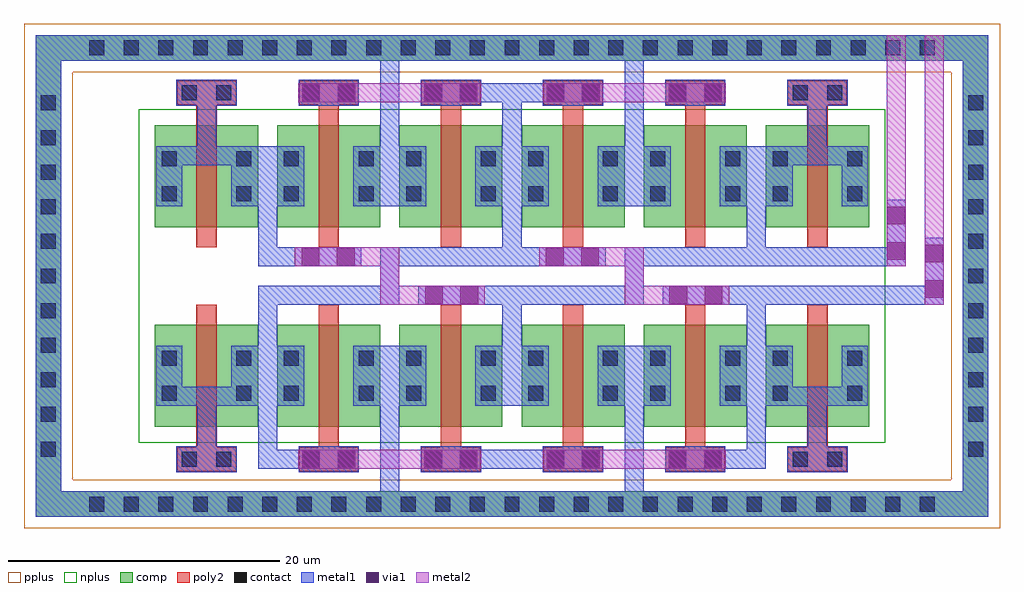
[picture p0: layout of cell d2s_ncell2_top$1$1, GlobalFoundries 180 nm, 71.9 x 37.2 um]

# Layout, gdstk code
import gdstk
lib = gdstk.Library(unit=1e-6, precision=1e-09)
def R(c, l, rs):  # rectangles x0, y0, x1, y1
    for r in rs: c.add(gdstk.rectangle(r[:2], r[2:], *l))
def A(c, l, x, y, w, h, nx, ny, dx, dy):  # array of equal rectangles
    R(c, l, [(x+i*dx, y+j*dy, x+i*dx+w, y+j*dy+h) for i in range(nx) for j in range(ny)])
comp = (22, 0)
poly2 = (30, 0)
pplus = (31, 0)
nplus = (32, 0)
contact = (33, 0)
metal1 = (34, 0)
via1 = (35, 0)
metal2 = (36, 0)

d2s_ncell2_1_1_1_1_1 = lib.new_cell('d2s_ncell2_1$1$1$1$1')
R(d2s_ncell2_1_1_1_1_1, comp, [(0,1.5,2.1,9), (2.1,1.5,5.5,9), (5.5,1.5,7.6,9)])
R(d2s_ncell2_1_1_1_1_1, poly2, [(3.05,0,4.55,10.5)])
R(d2s_ncell2_1_1_1_1_1, contact, [(0.5,3.425,1.6,4.525), (6,3.425,7.1,4.525), (0.5,5.975,1.6,7.075), (6,5.975,7.1,7.075)])
R(d2s_ncell2_1_1_1_1_1, metal1, [(0.1,3.025,2,7.475), (5.6,3.025,7.5,7.475)])

d2s_ncell2_4_1_1_1 = lib.new_cell('d2s_ncell2_4$1$1$1')
A(d2s_ncell2_4_1_1_1, poly2, 1.625, 10.5, 4.35, 1.8, 6, 1, 9, 0)
R(d2s_ncell2_4_1_1_1, contact, [(1.975,10.85,3.075,11.95), (4.525,10.85,5.625,11.95), (10.975,10.85,12.075,11.95), (13.525,10.85,14.625,11.95), (19.975,10.85,21.075,11.95), (22.525,10.85,23.625,11.95), (28.975,10.85,30.075,11.95), (31.525,10.85,32.625,11.95), (37.975,10.85,39.075,11.95), (40.525,10.85,41.625,11.95), (46.975,10.85,48.075,11.95), (49.525,10.85,50.625,11.95)])
A(d2s_ncell2_4_1_1_1, metal1, 7.5, 3.025, 1.6, 4.45, 5, 1, 9, 0)
A(d2s_ncell2_4_1_1_1, metal1, 1.575, 10.45, 4.45, 1.9, 6, 1, 9, 0)
R(d2s_ncell2_4_1_1_1, via1, [(10.85,10.75,12.15,12.05), (13.45,10.75,14.75,12.05), (19.85,10.75,21.15,12.05), (22.45,10.75,23.75,12.05), (28.85,10.75,30.15,12.05), (31.45,10.75,32.75,12.05), (37.85,10.75,39.15,12.05), (40.45,10.75,41.75,12.05)])
d2s_ncell2_4_1_1_1.add(gdstk.FlexPath([(47,6.775),(50.6,6.775)], 1.4, ends="flush", simple_path=True, layer=34, datatype=0))  # metal1
d2s_ncell2_4_1_1_1.add(gdstk.FlexPath([(48.8,10.45),(48.8,7.475)], 1.4, ends="flush", simple_path=True, layer=34, datatype=0))  # metal1
d2s_ncell2_4_1_1_1.add(gdstk.FlexPath([(2,6.775),(5.6,6.775)], 1.4, ends="flush", simple_path=True, layer=34, datatype=0))  # metal1
d2s_ncell2_4_1_1_1.add(gdstk.FlexPath([(3.8,10.45),(3.8,7.475)], 1.4, ends="flush", simple_path=True, layer=34, datatype=0))  # metal1
d2s_ncell2_4_1_1_1.add(gdstk.FlexPath([(10.55,11.4),(24.05,11.4)], 1.4, ends="flush", simple_path=True, layer=36, datatype=0))  # metal2
d2s_ncell2_4_1_1_1.add(gdstk.FlexPath([(28.55,11.4),(42.05,11.4)], 1.4, ends="flush", simple_path=True, layer=36, datatype=0))  # metal2
d2s_ncell2_4_1_1_1.add(gdstk.Reference(d2s_ncell2_1_1_1_1_1, (0,0)))
d2s_ncell2_4_1_1_1.add(gdstk.Reference(d2s_ncell2_1_1_1_1_1, (9,0)))
d2s_ncell2_4_1_1_1.add(gdstk.Reference(d2s_ncell2_1_1_1_1_1, (18,0)))
d2s_ncell2_4_1_1_1.add(gdstk.Reference(d2s_ncell2_1_1_1_1_1, (27,0)))
d2s_ncell2_4_1_1_1.add(gdstk.Reference(d2s_ncell2_1_1_1_1_1, (36,0)))
d2s_ncell2_4_1_1_1.add(gdstk.Reference(d2s_ncell2_1_1_1_1_1, (45,0)))

d2s_ncell2_top_1_1 = lib.new_cell('d2s_ncell2_top$1$1')
R(d2s_ncell2_top_1_1, nplus, [(8.45,6.3,63.45,30.9)])
A(d2s_ncell2_top_1_1, contact, 4.8, 1.25, 1.1, 1.1, 25, 2, 2.55, 33.6)
A(d2s_ncell2_top_1_1, contact, 1.25, 5.3, 1.1, 1.1, 1, 11, 0, 2.55)
A(d2s_ncell2_top_1_1, contact, 69.55, 5.3, 1.1, 1.1, 1, 11, 0, 2.55)
R(d2s_ncell2_top_1_1, via1, [(29.55,16.55,30.85,17.85), (32.15,16.55,33.45,17.85), (47.55,16.55,48.85,17.85), (50.15,16.55,51.45,17.85), (66.4,17,67.7,18.3), (20.45,19.35,21.75,20.65), (23.05,19.35,24.35,20.65), (38.45,19.35,39.75,20.65), (41.05,19.35,42.35,20.65), (66.4,19.6,67.7,20.9), (63.6,19.8,64.9,21.1), (63.6,22.4,64.9,23.7)])
d2s_ncell2_top_1_1.add(gdstk.FlexPath([(70.1,36.35),(70.1,1.8),(1.8,1.8),(1.8,35.4),(71.05,35.4)], 1.9, ends="flush", simple_path=True, layer=34, datatype=0))  # metal1
d2s_ncell2_top_1_1.add(gdstk.FlexPath([(44.95,28.175),(44.95,34.45)], 1.4, ends="flush", simple_path=True, layer=34, datatype=0))  # metal1
d2s_ncell2_top_1_1.add(gdstk.FlexPath([(26.95,28.175),(26.95,34.45)], 1.4, ends="flush", simple_path=True, layer=34, datatype=0))  # metal1
d2s_ncell2_top_1_1.add(gdstk.FlexPath([(26.95,9.025),(26.95,2.75)], 1.4, ends="flush", simple_path=True, layer=34, datatype=0))  # metal1
d2s_ncell2_top_1_1.add(gdstk.FlexPath([(44.95,9.025),(44.95,2.75)], 1.4, ends="flush", simple_path=True, layer=34, datatype=0))  # metal1
d2s_ncell2_top_1_1.add(gdstk.FlexPath([(64.25,24.2),(64.25,19.3)], 1.4, ends="flush", simple_path=True, layer=34, datatype=0))  # metal1
d2s_ncell2_top_1_1.add(gdstk.FlexPath([(54.65,17.2),(67.75,17.2)], 1.4, ends="flush", simple_path=True, layer=34, datatype=0))  # metal1
d2s_ncell2_top_1_1.add(gdstk.FlexPath([(54.65,20),(63.55,20)], 1.4, ends="flush", simple_path=True, layer=34, datatype=0))  # metal1
d2s_ncell2_top_1_1.add(gdstk.FlexPath([(33.95,17.2),(37.95,17.2)], 1.4, ends="flush", simple_path=True, layer=34, datatype=0))  # metal1
d2s_ncell2_top_1_1.add(gdstk.FlexPath([(17.95,23.725),(17.95,20.7)], 1.4, ends="flush", simple_path=True, layer=34, datatype=0))  # metal1
d2s_ncell2_top_1_1.add(gdstk.FlexPath([(33.95,20),(26.95,20),(26.95,17.2),(19.95,17.2)], 1.4, ends="flush", simple_path=True, layer=34, datatype=0))  # metal1
d2s_ncell2_top_1_1.add(gdstk.FlexPath([(24.85,20),(19.95,20)], 1.4, ends="flush", simple_path=True, layer=34, datatype=0))  # metal1
d2s_ncell2_top_1_1.add(gdstk.FlexPath([(33.95,17.2),(29.05,17.2)], 1.4, ends="flush", simple_path=True, layer=34, datatype=0))  # metal1
d2s_ncell2_top_1_1.add(gdstk.FlexPath([(33.95,20),(37.95,20)], 1.4, ends="flush", simple_path=True, layer=34, datatype=0))  # metal1
d2s_ncell2_top_1_1.add(gdstk.FlexPath([(53.95,23.725),(53.95,20.7)], 1.4, ends="flush", simple_path=True, layer=34, datatype=0))  # metal1
d2s_ncell2_top_1_1.add(gdstk.FlexPath([(19.95,20),(17.25,20)], 1.4, ends="flush", simple_path=True, layer=34, datatype=0))  # metal1
d2s_ncell2_top_1_1.add(gdstk.FlexPath([(51.95,20),(54.65,20)], 1.4, ends="flush", simple_path=True, layer=34, datatype=0))  # metal1
d2s_ncell2_top_1_1.add(gdstk.FlexPath([(35.95,23.725),(35.95,20.7)], 1.4, ends="flush", simple_path=True, layer=34, datatype=0))  # metal1
d2s_ncell2_top_1_1.add(gdstk.FlexPath([(51.95,20),(44.95,20),(44.95,17.2),(37.95,17.2)], 1.4, ends="flush", simple_path=True, layer=34, datatype=0))  # metal1
d2s_ncell2_top_1_1.add(gdstk.FlexPath([(42.85,20),(37.95,20)], 1.4, ends="flush", simple_path=True, layer=34, datatype=0))  # metal1
d2s_ncell2_top_1_1.add(gdstk.FlexPath([(51.95,17.2),(47.05,17.2)], 1.4, ends="flush", simple_path=True, layer=34, datatype=0))  # metal1
d2s_ncell2_top_1_1.add(gdstk.FlexPath([(35.95,13.475),(35.95,16.5)], 1.4, ends="flush", simple_path=True, layer=34, datatype=0))  # metal1
d2s_ncell2_top_1_1.add(gdstk.FlexPath([(51.95,17.2),(54.65,17.2)], 1.4, ends="flush", simple_path=True, layer=34, datatype=0))  # metal1
d2s_ncell2_top_1_1.add(gdstk.FlexPath([(19.95,17.2),(17.25,17.2)], 1.4, ends="flush", simple_path=True, layer=34, datatype=0))  # metal1
d2s_ncell2_top_1_1.add(gdstk.FlexPath([(53.95,13.475),(53.95,16.5)], 1.4, ends="flush", simple_path=True, layer=34, datatype=0))  # metal1
d2s_ncell2_top_1_1.add(gdstk.FlexPath([(17.95,13.475),(17.95,16.5)], 1.4, ends="flush", simple_path=True, layer=34, datatype=0))  # metal1
d2s_ncell2_top_1_1.add(gdstk.FlexPath([(67.05,21.4),(67.05,16.5)], 1.4, ends="flush", simple_path=True, layer=34, datatype=0))  # metal1
d2s_ncell2_top_1_1.add(gdstk.FlexPath([(33.675,32.1),(38.225,32.1)], 1.4, ends="flush", simple_path=True, layer=34, datatype=0))  # metal1
d2s_ncell2_top_1_1.add(gdstk.FlexPath([(33.675,5.1),(38.225,5.1)], 1.4, ends="flush", simple_path=True, layer=34, datatype=0))  # metal1
d2s_ncell2_top_1_1.add(gdstk.FlexPath([(35.95,28.175),(35.95,31.4)], 1.4, ends="flush", simple_path=True, layer=34, datatype=0))  # metal1
d2s_ncell2_top_1_1.add(gdstk.FlexPath([(53.95,9.025),(53.95,5.1),(51.675,5.1)], 1.4, ends="flush", simple_path=True, layer=34, datatype=0))  # metal1
d2s_ncell2_top_1_1.add(gdstk.FlexPath([(17.95,9.025),(17.95,5.1),(20.225,5.1)], 1.4, ends="flush", simple_path=True, layer=34, datatype=0))  # metal1
d2s_ncell2_top_1_1.add(gdstk.FlexPath([(70.1,36.35),(70.1,1.8),(1.8,1.8),(1.8,35.4),(71.05,35.4)], 1.9, ends="flush", simple_path=True, layer=22, datatype=0))  # comp
d2s_ncell2_top_1_1.add(gdstk.FlexPath([(51.95,17.2),(44.95,17.2),(44.95,20),(37.95,20)], 1.4, ends="flush", simple_path=True, layer=36, datatype=0))  # metal2
d2s_ncell2_top_1_1.add(gdstk.FlexPath([(33.95,17.2),(26.95,17.2),(26.95,20),(19.95,20)], 1.4, ends="flush", simple_path=True, layer=36, datatype=0))  # metal2
d2s_ncell2_top_1_1.add(gdstk.FlexPath([(64.25,19.3),(64.25,36.35)], 1.4, ends="flush", simple_path=True, layer=36, datatype=0))  # metal2
d2s_ncell2_top_1_1.add(gdstk.FlexPath([(67.05,16.5),(67.05,36.35)], 1.4, ends="flush", simple_path=True, layer=36, datatype=0))  # metal2
d2s_ncell2_top_1_1.add(gdstk.FlexPath([(70.1,37.2),(70.1,1.8),(1.8,1.8),(1.8,35.4),(71.9,35.4)], 3.6, ends="flush", simple_path=True, layer=31, datatype=0))  # pplus
d2s_ncell2_top_1_1.add(gdstk.Reference(d2s_ncell2_4_1_1_1, (9.65,20.7)))
d2s_ncell2_top_1_1.add(gdstk.Reference(d2s_ncell2_4_1_1_1, (9.65,16.5), x_reflection=True))

lib.write_gds('d2s_ncell2_top_1_1.gds')
